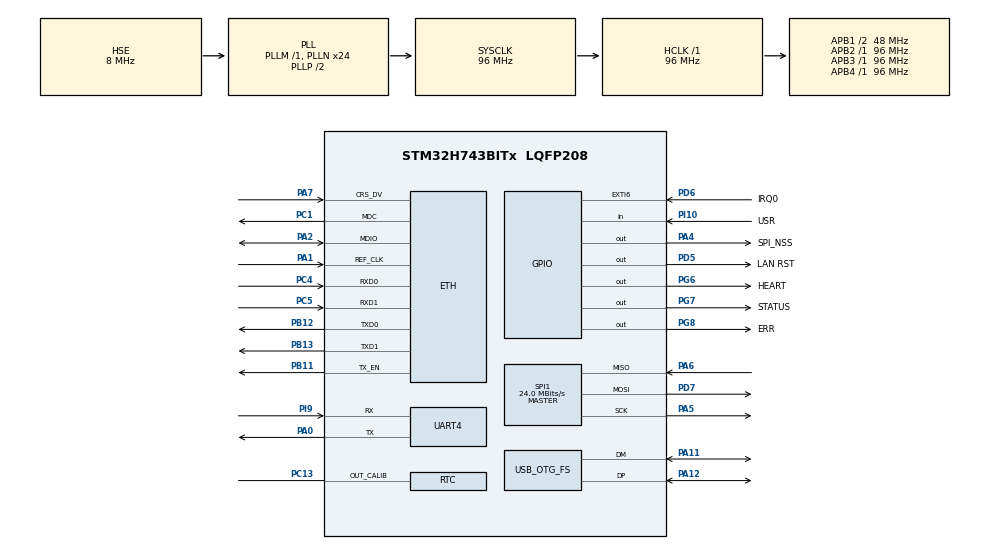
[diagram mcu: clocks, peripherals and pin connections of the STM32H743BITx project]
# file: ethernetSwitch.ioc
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CORTEX_M7.CPU_DCache=Enabled
CORTEX_M7.CPU_ICache=Enabled
CORTEX_M7.default_mode_Activation=1
ETH.MediaInterface=HAL_ETH_RMII_MODE
LWIP.BSP.number=1
LWIP.GATEWAY_ADDRESS=192.168.010.050
LWIP.IP_ADDRESS=192.168.010.050
LWIP.LWIP_DHCP=0
LWIP.MEM_SIZE=10*1024
LWIP.NETMASK_ADDRESS=255.255.255.000
LWIP.Version=v2.2.1_Cube
LWIP0.BSP.STBoard=false
LWIP0.BSP.api=BSP_COMPONENT_DRIVER
LWIP0.BSP.component=USER_PHY
LWIP0.BSP.instance=USER_PHY
LWIP0.BSP.name=Driver_PHY
LWIP0.BSP.semaphore=S_USER_PHY
LWIP0.BSP.solution=USER_PHY
Mcu.Family=STM32H7
Mcu.Name=STM32H743BITx
Mcu.Package=LQFP208
NVIC.EXTI9_5_IRQn=true\:0\:0\:false\:false\:true\:true\:true\:true
NVIC.OTG_FS_EP1_IN_IRQn=true\:0\:0\:false\:false\:true\:true\:true\:true
NVIC.OTG_FS_EP1_OUT_IRQn=true\:0\:0\:false\:false\:true\:true\:true\:true
NVIC.OTG_FS_IRQn=true\:0\:0\:false\:false\:true\:false\:true\:true
NVIC.PriorityGroup=NVIC_PRIORITYGROUP_4
PA0.Mode=Asynchronous
PA0.Signal=UART4_TX
PA1.Mode=RMII
PA1.Signal=ETH_REF_CLK
PA11.Mode=Device_Only
PA11.Signal=USB_OTG_FS_DM
PA12.Mode=Device_Only
PA12.Signal=USB_OTG_FS_DP
PA13\ (JTMS/SWDIO).Mode=Serial_Wire
PA13\ (JTMS/SWDIO).Signal=DEBUG_JTMS-SWDIO
PA14\ (JTCK/SWCLK).Mode=Serial_Wire
PA14\ (JTCK/SWCLK).Signal=DEBUG_JTCK-SWCLK
PA2.Mode=RMII
PA2.Signal=ETH_MDIO
PA4.GPIO_Label=SPI_NSS
PA4.Signal=GPIO_Output
PA5.Mode=Full_Duplex_Master
PA5.Signal=SPI1_SCK
PA6.Mode=Full_Duplex_Master
PA6.Signal=SPI1_MISO
PA7.Mode=RMII
PA7.Signal=ETH_CRS_DV
PB11.Mode=RMII
PB11.Signal=ETH_TX_EN
PB12.Mode=RMII
PB12.Signal=ETH_TXD0
PB13.Mode=RMII
PB13.Signal=ETH_TXD1
PC1.Mode=RMII
PC1.Signal=ETH_MDC
PC13.Mode=Calibration_1Hz
PC13.Signal=RTC_OUT_CALIB
PC4.Mode=RMII
PC4.Signal=ETH_RXD0
PC5.Mode=RMII
PC5.Signal=ETH_RXD1
PD5.GPIO_Label=LAN RST
PD5.Signal=GPIO_Output
PD6.GPIO_Label=IRQ0
PD6.Signal=GPXTI6
PD7.Mode=Full_Duplex_Master
PD7.Signal=SPI1_MOSI
PG6.GPIO_Label=HEART
PG6.Signal=GPIO_Output
PG7.GPIO_Label=STATUS
PG7.Signal=GPIO_Output
PG8.GPIO_Label=ERR
PG8.Signal=GPIO_Output
PH0-OSC_IN\ (PH0).Mode=HSE-External-Oscillator
PH0-OSC_IN\ (PH0).Signal=RCC_OSC_IN
PH1-OSC_OUT\ (PH1).Mode=HSE-External-Oscillator
PH1-OSC_OUT\ (PH1).Signal=RCC_OSC_OUT
PI10.GPIO_Label=USR
PI10.Signal=GPIO_Input
PI9.Mode=Asynchronous
PI9.Signal=UART4_RX
ProjectManager.HeapSize=0x200
ProjectManager.StackSize=0x400
ProjectManager.TargetToolchain=STM32CubeIDE
RCC.ADCFreq_Value=16125000
RCC.APB1Freq_Value=48000000
RCC.APB2Freq_Value=96000000
RCC.APB3Freq_Value=96000000
RCC.APB4Freq_Value=96000000
RCC.CortexFreq_Value=96000000
RCC.D2PPRE1=RCC_APB1_DIV2
RCC.DIVM1=1
RCC.DIVN1=24
RCC.DIVQ1=4
RCC.HCLKFreq_Value=96000000
RCC.HSE_VALUE=8000000
RCC.PLLFRACN=0
RCC.PLLSourceVirtual=RCC_PLLSOURCE_HSE
RCC.SYSCLKFreq_VALUE=96000000
RCC.SYSCLKSource=RCC_SYSCLKSOURCE_PLLCLK
RCC.USBFreq_Value=48000000
SPI1.CalculateBaudRate=24.0 MBits/s
SPI1.Direction=SPI_DIRECTION_2LINES
SPI1.Mode=SPI_MODE_MASTER
SPI1.VirtualType=VM_MASTER
USB_DEVICE.CLASS_NAME_FS=CDC
USB_DEVICE.VirtualMode-CDC_FS=Cdc
USB_DEVICE.VirtualModeFS=Cdc_FS
USB_OTG_FS.VirtualMode=Device_Only
USB_OTG_FS.dma_enable=DISABLE
VP_CRC_VS_CRC.Mode=CRC_Activate
VP_LWIP_VS_Enabled.Mode=Enabled
VP_MEMORYMAP_VS_MEMORYMAP.Mode=CurAppReg
VP_RNG_VS_RNG.Mode=RNG_Activate
VP_RTC_VS_RTC_Activate.Mode=RTC_Enabled
VP_USB_DEVICE_VS_USB_DEVICE_CDC_FS.Mode=CDC_FS
board=custom

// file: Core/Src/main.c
/* USER CODE BEGIN Header */
/**
  ******************************************************************************
  * @file           : main.c
  * @brief          : Main program body
  ******************************************************************************
  * @attention
  *
  * Copyright (c) 2026 STMicroelectronics.
  * All rights reserved.
  *
  * This software is licensed under terms that can be found in the LICENSE file
  * in the root directory of this software component.
  * If no LICENSE file comes with this software, it is provided AS-IS.
  *
  ******************************************************************************
  */
/* USER CODE END Header */
#include "main.h"
#include "lwip.h"
#include "usb_device.h"

/* USER CODE BEGIN Includes */
#include "ethernetif.h"
#include "diag/diag_core.h"
#include "diag/diag_router.h"
#include "app/app_orchestrator.h"
#include "cli/cli_core.h"
#include "cli/cli_ingress.h"
#include "lan9645/lan9645_core.h"
#include "lan9645/lan9645_feature_matrix.h"
#include "lan9645/lan9645_profile_managed_rmii1.h"
#include "lan9645/lan9645_reg.h"
#include "lan9645/lan9645_runtime.h"
#include "lan9645/lan9645_spi.h"
#include "lan9645/lan9645_target_map.h"
#include "time/time_service.h"
#include "ui/ui_service.h"

/* USER CODE END Includes */

/* USER CODE BEGIN PD */
#define LAN9645_SPI_CLOCK_FALLBACK_HZ (24000000u)
#define LAN9645_IRQ_STUCK_TIMEOUT_MS (200u)
#define LAN9645_IRQ_CAUSE_REPORT_INTERVAL_MS (250u)

/* USER CODE END PD */

CRC_HandleTypeDef hcrc;

RNG_HandleTypeDef hrng;

RTC_HandleTypeDef hrtc;

SPI_HandleTypeDef hspi1;

UART_HandleTypeDef huart4;

/* USER CODE BEGIN PV */
static lan9645_spi_t g_lan_spi;
static lan9645_reg_t g_lan_reg;
static lan9645_core_t g_lan_core;
static lan9645_feature_matrix_t g_lan_features;

/* USER CODE END PV */

void SystemClock_Config(void);
static void MPU_Config(void);
static void MX_GPIO_Init(void);
static void MX_SPI1_Init(void);
static void MX_UART4_Init(void);
static void MX_RTC_Init(void);
static void MX_CRC_Init(void);
static void MX_RNG_Init(void);

/* USER CODE BEGIN 0 */
/**
 * @brief Converts STM32 SPI prescaler enum to numeric divider value.
 */
static uint32_t lan9645_spi_prescaler_to_div(uint32_t prescaler)
{
  switch (prescaler)
  {
    case SPI_BAUDRATEPRESCALER_2: return 2u;
    case SPI_BAUDRATEPRESCALER_4: return 4u;
    case SPI_BAUDRATEPRESCALER_8: return 8u;
    case SPI_BAUDRATEPRESCALER_16: return 16u;
    case SPI_BAUDRATEPRESCALER_32: return 32u;
    case SPI_BAUDRATEPRESCALER_64: return 64u;
    case SPI_BAUDRATEPRESCALER_128: return 128u;
    case SPI_BAUDRATEPRESCALER_256: return 256u;
    default: return 0u;
  }
}

/**
 * @brief Estimates effective SPI1 serial clock used by LAN9645 transactions.
 *
 * The clock is derived from the SPI1 kernel source selected in RCC plus the
 * configured prescaler in `hspi->Init.BaudRatePrescaler`.
 */
static uint32_t lan9645_spi_effective_clock_hz(const SPI_HandleTypeDef *hspi)
{
  uint32_t spi_ker_hz = 0u;
  uint32_t div = 0u;

  if (hspi == NULL)
  {
    return 0u;
  }

  spi_ker_hz = HAL_RCCEx_GetPeriphCLKFreq(RCC_PERIPHCLK_SPI1);
  div = lan9645_spi_prescaler_to_div(hspi->Init.BaudRatePrescaler);
  if ((spi_ker_hz == 0u) || (div == 0u))
  {
    return 0u;
  }

  return (spi_ker_hz / div);
}

/* USER CODE END 0 */

int main(void)
{

  /* MPU Configuration--------------------------------------------------------*/
  MPU_Config();

  /* Enable the CPU Cache */

  /* Enable I-Cache---------------------------------------------------------*/
  SCB_EnableICache();

  /* Enable D-Cache---------------------------------------------------------*/
  SCB_EnableDCache();

  /* MCU Configuration--------------------------------------------------------*/

  /* Reset of all peripherals, Initializes the Flash interface and the Systick. */
  HAL_Init();

  /* Configure the system clock */
  SystemClock_Config();

  /* Initialize all configured peripherals */
  MX_GPIO_Init();
  MX_SPI1_Init();
  MX_UART4_Init();
  MX_RTC_Init();
  MX_CRC_Init();
  MX_RNG_Init();
  MX_USB_DEVICE_Init();
  /* USER CODE BEGIN 2 */
  /* Resolve the SPI bus clock used by LAN9645 setup and read padding rules. */
  uint32_t lan_spi_clock_hz = lan9645_spi_effective_clock_hz(&hspi1);
  if (lan_spi_clock_hz == 0u)
  {
    /* Keep deterministic setup even when the peripheral clock query fails. */
    lan_spi_clock_hz = LAN9645_SPI_CLOCK_FALLBACK_HZ;
  }

  /* Initialize timing and diagnostics first so all bring-up failures are visible. */
  if (time_service_init() != APP_OK)
  {
    Error_Handler();
  }
  if (diag_core_init() != APP_OK)
  {
    Error_Handler();
  }
  if (diag_router_init() != APP_OK)
  {
    Error_Handler();
  }
  /* USB CDC is the primary CLI/diag channel, UART4 remains as fallback/mirror. */
  if (diag_router_set_owner(APP_OWNER_USB) != APP_OK)
  {
    Error_Handler();
  }
  if (diag_router_set_uart_ready(1u) != APP_OK)
  {
    Error_Handler();
  }
  /* Bring up app state machine and UI/CLI services before LAN setup. */
  if (app_orchestrator_init() != APP_OK)
  {
    Error_Handler();
  }
  (void)app_orchestrator_set_state(APP_STATE_BOOT);
  if (ui_service_init() != APP_OK)
  {
    Error_Handler();
  }
  if (cli_core_init() != APP_OK)
  {
    Error_Handler();
  }
  if (cli_ingress_init() != APP_OK)
  {
    Error_Handler();
  }
  (void)ui_service_set_status(0u);
  (void)ui_service_set_error(0u);
  (void)ui_service_set_run(0u);

  /* Build the LAN9645 SPI/register/core stack from low-level to high-level APIs. */
  if (lan9645_spi_init(&g_lan_spi, &hspi1, SPI_NSS_GPIO_Port, SPI_NSS_Pin) != APP_OK)
  {
    Error_Handler();
  }
  if (lan9645_reg_init(&g_lan_reg, &g_lan_spi) != APP_OK)
  {
    Error_Handler();
  }
  if (lan9645_target_map_apply_board_defaults(&g_lan_reg) != APP_OK)
  {
    Error_Handler();
  }
  if (lan9645_core_init(&g_lan_core, &g_lan_reg, LAN_RST_GPIO_Port, LAN_RST_Pin) != APP_OK)
  {
    Error_Handler();
  }
  lan9645_runtime_set_core(&g_lan_core);
  if (lan9645_feature_matrix_init(&g_lan_features, &g_lan_core) != APP_OK)
  {
    Error_Handler();
  }
  lan9645_runtime_set_feature_matrix(&g_lan_features);
  if (app_orchestrator_lan_irq_init(
      LAN9645_IRQ_STUCK_TIMEOUT_MS,
      LAN9645_IRQ_CAUSE_REPORT_INTERVAL_MS) != APP_OK)
  {
    Error_Handler();
  }
  (void)app_orchestrator_set_state(APP_STATE_LAN_RESET);
  if (lan9645_core_hw_reset(&g_lan_core, 2u, 20u) != APP_OK)
  {
    Error_Handler();
  }
  if (lan9645_core_spi_setup(&g_lan_core, lan_spi_clock_hz) != APP_OK)
  {
    Error_Handler();
  }

  /* Apply board profile then enable firmware-selected feature policies. */
  (void)app_orchestrator_set_state(APP_STATE_LAN_SPI_TEST);
  {
    lan9645_profile_result_t lan_profile = {0};
    (void)app_orchestrator_set_state(APP_STATE_LAN_PROFILE_APPLY);
    app_status_t lan_st = lan9645_profile_managed_rmii1_apply(&g_lan_core, &lan_profile);
    if (lan_st != APP_OK)
    {
      diag_event_t lan_evt;
      lan_evt.id = DIAG_EVT_LAN_SPI_TIMEOUT;
      lan_evt.severity = DIAG_SEV_ERR;
      lan_evt.dev = 0u;
      lan_evt.reg = 0u;
      lan_evt.arg0 = (uint32_t)lan_st;
      lan_evt.arg1 = 0u;
      (void)diag_core_report(&lan_evt);
      (void)diag_router_write_event(&lan_evt);
      (void)app_orchestrator_set_fault((uint32_t)lan_st);
      (void)ui_service_set_error(1u);
      Error_Handler();
    }
    else
    {
      diag_event_t lan_evt;
      lan_evt.id = DIAG_EVT_LAN_SPI_IFSTAT;
      lan_evt.severity = DIAG_SEV_INFO;
      lan_evt.dev = 0u;
      lan_evt.reg = 0u;
      lan_evt.arg0 = lan_profile.feat_disable;
      lan_evt.arg1 = lan_profile.chip_id;
      (void)diag_core_report(&lan_evt);
      (void)diag_router_write_event(&lan_evt);
      {
        app_status_t feat_st = lan9645_feature_matrix_apply_all(&g_lan_features);
        if (feat_st != APP_OK)
        {
          diag_event_t feat_evt;
          feat_evt.id = DIAG_EVT_LAN_FEAT_CFG_FAIL;
          feat_evt.severity = DIAG_SEV_WARN;
          feat_evt.dev = 0u;
          feat_evt.reg = 0u;
          feat_evt.arg0 = (uint32_t)(int32_t)feat_st;
          feat_evt.arg1 = 0u;
          (void)diag_core_report(&feat_evt);
          (void)diag_router_write_event(&feat_evt);
        }
      }
      MX_LWIP_Init();
      {
        /* Ensure ethernetif + custom PHY glue is ready before entering RUN state. */
        app_status_t eth_pf = ethernetif_preflight();
        if (eth_pf != APP_OK)
        {
          diag_event_t eth_evt;
          eth_evt.id = DIAG_EVT_LAN_SPI_TIMEOUT;
          eth_evt.severity = DIAG_SEV_ERR;
          eth_evt.dev = 8u;
          eth_evt.reg = 0u;
          eth_evt.arg0 = (uint32_t)eth_pf;
          eth_evt.arg1 = 1u;
          (void)diag_core_report(&eth_evt);
          (void)diag_router_write_event(&eth_evt);
          (void)app_orchestrator_set_fault((uint32_t)eth_pf);
          (void)ui_service_set_error(1u);
          Error_Handler();
        }
      }
      (void)app_orchestrator_set_state(APP_STATE_NET_READY);
      (void)ui_service_set_status(1u);
      (void)ui_service_set_error(0u);
      (void)ui_service_set_run(1u);
    }
  }

  /* Publish a boot marker only after diagnostics, LAN, and network are online. */
  (void)diag_router_poll();
  {
    diag_event_t boot_evt;
    boot_evt.id = DIAG_EVT_BOOT;
    boot_evt.severity = DIAG_SEV_INFO;
    boot_evt.dev = 0u;
    boot_evt.reg = 0u;
    boot_evt.arg0 = 0u;
    boot_evt.arg1 = 0u;
    (void)diag_core_report(&boot_evt);
    (void)diag_router_write_event(&boot_evt);
  }
  (void)app_orchestrator_set_state(APP_STATE_RUN);
  (void)cli_core_exec_line("status all");

  /* USER CODE END 2 */

  /* Infinite loop */
  while (1)
  {

    /* USER CODE BEGIN 3 */
    /* Process RX/TX packets and service outgoing diagnostics stream. */
    MX_LWIP_Process();
    (void)diag_router_poll();
    /* Supervise LAN IRQ causes/ack flow and expose errors through diagnostics. */
    (void)app_orchestrator_lan_irq_step(
      &g_lan_core,
      (HAL_GPIO_ReadPin(IRQ0_GPIO_Port, IRQ0_Pin) == GPIO_PIN_SET) ? 1u : 0u,
      HAL_GetTick()
    );

    /* Execute CLI commands and ingest fallback UART4 bytes into CLI ingress. */
    (void)cli_core_poll();
    {
      uint8_t rx = 0u;
      while (HAL_UART_Receive(&huart4, &rx, 1u, 0u) == HAL_OK)
      {
        (void)cli_ingress_feed_byte(rx, APP_CH_UART4);
      }
    }
    (void)cli_ingress_poll();

    /* Refresh LED/button service and map user button press to quick status dump. */
    (void)ui_service_poll();
    if (ui_service_take_button_event() != 0u)
    {
      (void)cli_core_exec_line("status all");
    }
  }
  /* USER CODE END 3 */
}

void SystemClock_Config(void)
{
  RCC_OscInitTypeDef RCC_OscInitStruct = {0};
  RCC_ClkInitTypeDef RCC_ClkInitStruct = {0};

  /** Supply configuration update enable
  */
  HAL_PWREx_ConfigSupply(PWR_LDO_SUPPLY);

  /** Configure the main internal regulator output voltage
  */
  __HAL_PWR_VOLTAGESCALING_CONFIG(PWR_REGULATOR_VOLTAGE_SCALE3);

  while(!__HAL_PWR_GET_FLAG(PWR_FLAG_VOSRDY)) {}

  /** Initializes the RCC Oscillators according to the specified parameters
  * in the RCC_OscInitTypeDef structure.
  */
  RCC_OscInitStruct.OscillatorType = RCC_OSCILLATORTYPE_HSI48|RCC_OSCILLATORTYPE_LSI
                              |RCC_OSCILLATORTYPE_HSE;
  RCC_OscInitStruct.HSEState = RCC_HSE_ON;
  RCC_OscInitStruct.LSIState = RCC_LSI_ON;
  RCC_OscInitStruct.HSI48State = RCC_HSI48_ON;
  RCC_OscInitStruct.PLL.PLLState = RCC_PLL_ON;
  RCC_OscInitStruct.PLL.PLLSource = RCC_PLLSOURCE_HSE;
  RCC_OscInitStruct.PLL.PLLM = 1;
  RCC_OscInitStruct.PLL.PLLN = 24;
  RCC_OscInitStruct.PLL.PLLP = 2;
  RCC_OscInitStruct.PLL.PLLQ = 4;
  RCC_OscInitStruct.PLL.PLLR = 2;
  RCC_OscInitStruct.PLL.PLLRGE = RCC_PLL1VCIRANGE_3;
  RCC_OscInitStruct.PLL.PLLVCOSEL = RCC_PLL1VCOWIDE;
  RCC_OscInitStruct.PLL.PLLFRACN = 0;
  if (HAL_RCC_OscConfig(&RCC_OscInitStruct) != HAL_OK)
  {
    Error_Handler();
  }

  /** Initializes the CPU, AHB and APB buses clocks
  */
  RCC_ClkInitStruct.ClockType = RCC_CLOCKTYPE_HCLK|RCC_CLOCKTYPE_SYSCLK
                              |RCC_CLOCKTYPE_PCLK1|RCC_CLOCKTYPE_PCLK2
                              |RCC_CLOCKTYPE_D3PCLK1|RCC_CLOCKTYPE_D1PCLK1;
  RCC_ClkInitStruct.SYSCLKSource = RCC_SYSCLKSOURCE_PLLCLK;
  RCC_ClkInitStruct.SYSCLKDivider = RCC_SYSCLK_DIV1;
  RCC_ClkInitStruct.AHBCLKDivider = RCC_HCLK_DIV1;
  RCC_ClkInitStruct.APB3CLKDivider = RCC_APB3_DIV1;
  RCC_ClkInitStruct.APB1CLKDivider = RCC_APB1_DIV2;
  RCC_ClkInitStruct.APB2CLKDivider = RCC_APB2_DIV1;
  RCC_ClkInitStruct.APB4CLKDivider = RCC_APB4_DIV1;

  if (HAL_RCC_ClockConfig(&RCC_ClkInitStruct, FLASH_LATENCY_2) != HAL_OK)
  {
    Error_Handler();
  }
}

static void MX_CRC_Init(void)
{

  hcrc.Instance = CRC;
  hcrc.Init.DefaultPolynomialUse = DEFAULT_POLYNOMIAL_ENABLE;
  hcrc.Init.DefaultInitValueUse = DEFAULT_INIT_VALUE_ENABLE;
  hcrc.Init.InputDataInversionMode = CRC_INPUTDATA_INVERSION_NONE;
  hcrc.Init.OutputDataInversionMode = CRC_OUTPUTDATA_INVERSION_DISABLE;
  hcrc.InputDataFormat = CRC_INPUTDATA_FORMAT_BYTES;
  if (HAL_CRC_Init(&hcrc) != HAL_OK)
  {
    Error_Handler();
  }

}

static void MX_RNG_Init(void)
{

  hrng.Instance = RNG;
  hrng.Init.ClockErrorDetection = RNG_CED_ENABLE;
  if (HAL_RNG_Init(&hrng) != HAL_OK)
  {
    Error_Handler();
  }

}

static void MX_RTC_Init(void)
{

  /** Initialize RTC Only
  */
  hrtc.Instance = RTC;
  hrtc.Init.HourFormat = RTC_HOURFORMAT_24;
  hrtc.Init.AsynchPrediv = 127;
  hrtc.Init.SynchPrediv = 255;
  hrtc.Init.OutPut = RTC_OUTPUT_DISABLE;
  hrtc.Init.OutPutPolarity = RTC_OUTPUT_POLARITY_HIGH;
  hrtc.Init.OutPutType = RTC_OUTPUT_TYPE_OPENDRAIN;
  hrtc.Init.OutPutRemap = RTC_OUTPUT_REMAP_NONE;
  if (HAL_RTC_Init(&hrtc) != HAL_OK)
  {
    Error_Handler();
  }

  /** Enable Calibrartion
  */
  if (HAL_RTCEx_SetCalibrationOutPut(&hrtc, RTC_CALIBOUTPUT_1HZ) != HAL_OK)
  {
    Error_Handler();
  }

}

static void MX_SPI1_Init(void)
{

  /* SPI1 parameter configuration*/
  hspi1.Instance = SPI1;
  hspi1.Init.Mode = SPI_MODE_MASTER;
  hspi1.Init.Direction = SPI_DIRECTION_2LINES;
  hspi1.Init.DataSize = SPI_DATASIZE_8BIT;
  hspi1.Init.CLKPolarity = SPI_POLARITY_LOW;
  hspi1.Init.CLKPhase = SPI_PHASE_1EDGE;
  hspi1.Init.NSS = SPI_NSS_SOFT;
  hspi1.Init.BaudRatePrescaler = SPI_BAUDRATEPRESCALER_2;
  hspi1.Init.FirstBit = SPI_FIRSTBIT_MSB;
  hspi1.Init.TIMode = SPI_TIMODE_DISABLE;
  hspi1.Init.CRCCalculation = SPI_CRCCALCULATION_DISABLE;
  hspi1.Init.CRCPolynomial = 0x0;
  hspi1.Init.NSSPMode = SPI_NSS_PULSE_ENABLE;
  hspi1.Init.NSSPolarity = SPI_NSS_POLARITY_LOW;
  hspi1.Init.FifoThreshold = SPI_FIFO_THRESHOLD_01DATA;
  hspi1.Init.TxCRCInitializationPattern = SPI_CRC_INITIALIZATION_ALL_ZERO_PATTERN;
  hspi1.Init.RxCRCInitializationPattern = SPI_CRC_INITIALIZATION_ALL_ZERO_PATTERN;
  hspi1.Init.MasterSSIdleness = SPI_MASTER_SS_IDLENESS_00CYCLE;
  hspi1.Init.MasterInterDataIdleness = SPI_MASTER_INTERDATA_IDLENESS_00CYCLE;
  hspi1.Init.MasterReceiverAutoSusp = SPI_MASTER_RX_AUTOSUSP_DISABLE;
  hspi1.Init.MasterKeepIOState = SPI_MASTER_KEEP_IO_STATE_DISABLE;
  hspi1.Init.IOSwap = SPI_IO_SWAP_DISABLE;
  if (HAL_SPI_Init(&hspi1) != HAL_OK)
  {
    Error_Handler();
  }

}

static void MX_UART4_Init(void)
{

  huart4.Instance = UART4;
  huart4.Init.BaudRate = 115200;
  huart4.Init.WordLength = UART_WORDLENGTH_8B;
  huart4.Init.StopBits = UART_STOPBITS_1;
  huart4.Init.Parity = UART_PARITY_NONE;
  huart4.Init.Mode = UART_MODE_TX_RX;
  huart4.Init.HwFlowCtl = UART_HWCONTROL_NONE;
  huart4.Init.OverSampling = UART_OVERSAMPLING_16;
  huart4.Init.OneBitSampling = UART_ONE_BIT_SAMPLE_DISABLE;
  huart4.Init.ClockPrescaler = UART_PRESCALER_DIV1;
  huart4.AdvancedInit.AdvFeatureInit = UART_ADVFEATURE_NO_INIT;
  if (HAL_UART_Init(&huart4) != HAL_OK)
  {
    Error_Handler();
  }
  if (HAL_UARTEx_SetTxFifoThreshold(&huart4, UART_TXFIFO_THRESHOLD_1_8) != HAL_OK)
  {
    Error_Handler();
  }
  if (HAL_UARTEx_SetRxFifoThreshold(&huart4, UART_RXFIFO_THRESHOLD_1_8) != HAL_OK)
  {
    Error_Handler();
  }
  if (HAL_UARTEx_DisableFifoMode(&huart4) != HAL_OK)
  {
    Error_Handler();
  }

}

static void MX_GPIO_Init(void)
{
  GPIO_InitTypeDef GPIO_InitStruct = {0};

  /* GPIO Ports Clock Enable */
  __HAL_RCC_GPIOC_CLK_ENABLE();
  __HAL_RCC_GPIOI_CLK_ENABLE();
  __HAL_RCC_GPIOH_CLK_ENABLE();
  __HAL_RCC_GPIOA_CLK_ENABLE();
  __HAL_RCC_GPIOB_CLK_ENABLE();
  __HAL_RCC_GPIOG_CLK_ENABLE();
  __HAL_RCC_GPIOD_CLK_ENABLE();

  /*Configure GPIO pin Output Level */
  HAL_GPIO_WritePin(SPI_NSS_GPIO_Port, SPI_NSS_Pin, GPIO_PIN_SET);

  /*Configure GPIO pin Output Level */
  HAL_GPIO_WritePin(GPIOG, HEART_Pin|STATUS_Pin|ERR_Pin, GPIO_PIN_RESET);

  /*Configure GPIO pin Output Level */
  HAL_GPIO_WritePin(LAN_RST_GPIO_Port, LAN_RST_Pin, GPIO_PIN_RESET);

  /*Configure GPIO pin : USR_Pin */
  GPIO_InitStruct.Pin = USR_Pin;
  GPIO_InitStruct.Mode = GPIO_MODE_INPUT;
  GPIO_InitStruct.Pull = GPIO_NOPULL;
  HAL_GPIO_Init(USR_GPIO_Port, &GPIO_InitStruct);

  /*Configure GPIO pin : SPI_NSS_Pin */
  GPIO_InitStruct.Pin = SPI_NSS_Pin;
  GPIO_InitStruct.Mode = GPIO_MODE_OUTPUT_PP;
  GPIO_InitStruct.Pull = GPIO_NOPULL;
  GPIO_InitStruct.Speed = GPIO_SPEED_FREQ_LOW;
  HAL_GPIO_Init(SPI_NSS_GPIO_Port, &GPIO_InitStruct);

  /*Configure GPIO pins : HEART_Pin STATUS_Pin ERR_Pin */
  GPIO_InitStruct.Pin = HEART_Pin|STATUS_Pin|ERR_Pin;
  GPIO_InitStruct.Mode = GPIO_MODE_OUTPUT_PP;
  GPIO_InitStruct.Pull = GPIO_NOPULL;
  GPIO_InitStruct.Speed = GPIO_SPEED_FREQ_LOW;
  HAL_GPIO_Init(GPIOG, &GPIO_InitStruct);

  /*Configure GPIO pin : LAN_RST_Pin */
  GPIO_InitStruct.Pin = LAN_RST_Pin;
  GPIO_InitStruct.Mode = GPIO_MODE_OUTPUT_PP;
  GPIO_InitStruct.Pull = GPIO_NOPULL;
  GPIO_InitStruct.Speed = GPIO_SPEED_FREQ_LOW;
  HAL_GPIO_Init(LAN_RST_GPIO_Port, &GPIO_InitStruct);

  /*Configure GPIO pin : IRQ0_Pin */
  GPIO_InitStruct.Pin = IRQ0_Pin;
  GPIO_InitStruct.Mode = GPIO_MODE_IT_RISING;
  GPIO_InitStruct.Pull = GPIO_NOPULL;
  HAL_GPIO_Init(IRQ0_GPIO_Port, &GPIO_InitStruct);

  /* EXTI interrupt init*/
  HAL_NVIC_SetPriority(IRQ0_EXTI_IRQn, 0, 0);
  HAL_NVIC_EnableIRQ(IRQ0_EXTI_IRQn);

}

/* USER CODE BEGIN 4 */
void HAL_GPIO_EXTI_Callback(uint16_t GPIO_Pin)
{
  if (GPIO_Pin == IRQ0_Pin)
  {
    /* Keep EXTI ISR minimal: only latch edge count, full handling runs in main loop. */
    lan9645_runtime_irq_on_exti();
  }
}

/* USER CODE END 4 */

 /* MPU Configuration */

void MPU_Config(void)
{
  MPU_Region_InitTypeDef MPU_InitStruct = {0};

  /* Disables the MPU */
  HAL_MPU_Disable();

  /** Initializes and configures the Region and the memory to be protected
  */
  MPU_InitStruct.Enable = MPU_REGION_ENABLE;
  MPU_InitStruct.Number = MPU_REGION_NUMBER0;
  MPU_InitStruct.BaseAddress = 0x0;
  MPU_InitStruct.Size = MPU_REGION_SIZE_4GB;
  MPU_InitStruct.SubRegionDisable = 0x87;
  MPU_InitStruct.TypeExtField = MPU_TEX_LEVEL0;
  MPU_InitStruct.AccessPermission = MPU_REGION_NO_ACCESS;
  MPU_InitStruct.DisableExec = MPU_INSTRUCTION_ACCESS_DISABLE;
  MPU_InitStruct.IsShareable = MPU_ACCESS_SHAREABLE;
  MPU_InitStruct.IsCacheable = MPU_ACCESS_NOT_CACHEABLE;
  MPU_InitStruct.IsBufferable = MPU_ACCESS_NOT_BUFFERABLE;

  HAL_MPU_ConfigRegion(&MPU_InitStruct);

  /* Keep ETH DMA descriptors and Rx buffers in a non-cacheable RAM_D2 region. */
  MPU_InitStruct.Enable = MPU_REGION_ENABLE;
  MPU_InitStruct.Number = MPU_REGION_NUMBER1;
  MPU_InitStruct.BaseAddress = 0x30000000;
  MPU_InitStruct.Size = MPU_REGION_SIZE_256KB;
  MPU_InitStruct.SubRegionDisable = 0x00;
  MPU_InitStruct.TypeExtField = MPU_TEX_LEVEL1;
  MPU_InitStruct.AccessPermission = MPU_REGION_FULL_ACCESS;
  MPU_InitStruct.DisableExec = MPU_INSTRUCTION_ACCESS_DISABLE;
  MPU_InitStruct.IsShareable = MPU_ACCESS_SHAREABLE;
  MPU_InitStruct.IsCacheable = MPU_ACCESS_NOT_CACHEABLE;
  MPU_InitStruct.IsBufferable = MPU_ACCESS_NOT_BUFFERABLE;
  HAL_MPU_ConfigRegion(&MPU_InitStruct);

  /* Enables the MPU */
  HAL_MPU_Enable(MPU_PRIVILEGED_DEFAULT);

}

void Error_Handler(void)
{
  __disable_irq();
  while (1)
  {
  }
}
